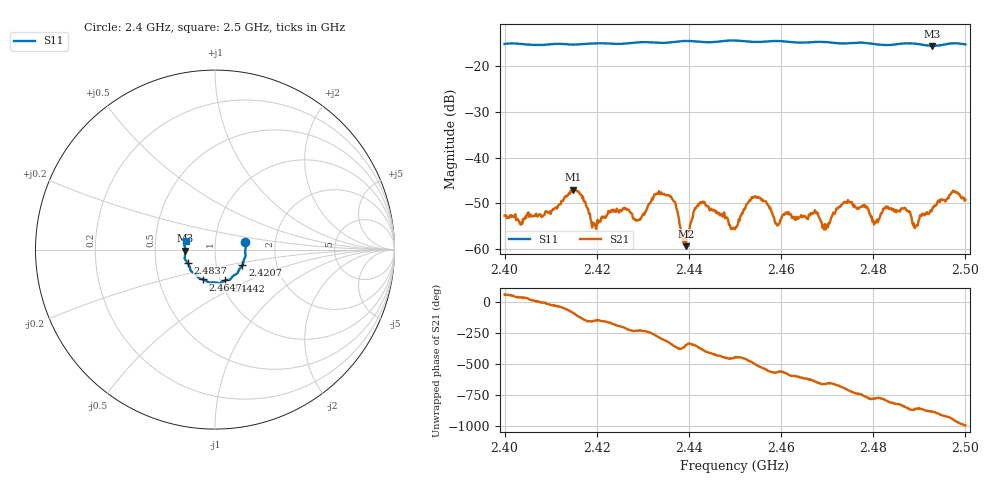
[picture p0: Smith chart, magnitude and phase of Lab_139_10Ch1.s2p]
# Hz S RI R 50
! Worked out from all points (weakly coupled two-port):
!   601 points, 2.4 GHz to 2.5 GHz, reference 50 ohm
!   highest |S21| = -47.00 dB at 2.4148 GHz (marker M1); lowest = -59.3 dB at 2.4393 GHz (marker M2)
!   lowest |S11| = -15.6 dB at 2.4928 GHz (marker M3), VSWR 1.40, Z = 35.8 - j0.426 ohm
!   |S11| at or under -10 dB: start of sweep to end of sweep
!   S12 and S22 are empty: the file has one direction only
!   S11 on the Smith chart (normalised r, x): 2.4 GHz: 1.40, +0.12; 2.4207 GHz: 1.34, -0.24; 2.4442 GHz: 1.05, -0.37; 2.4647 GHz: 0.83, -0.29; 2.4837 GHz: 0.73, -0.11; 2.5 GHz: 0.71, +0.07
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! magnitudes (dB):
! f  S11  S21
! 2.4 GHz  -15.2  -52.7
! 2.4148 GHz  -15.4  -47.0
! 2.4167 GHz  -15.3  -48.2
! 2.4207 GHz  -15.1  -54.0
! 2.4292 GHz  -14.9  -53.6
! 2.4333 GHz  -15.0  -48.0
! 2.4367 GHz  -14.8  -49.5
! 2.4393 GHz  -14.6  -59.3
! 2.4417 GHz  -14.7  -50.7
! 2.4442 GHz  -14.8  -50.6
! 2.45 GHz  -14.5  -55.6
! 2.4542 GHz  -14.8  -48.6
! 2.4592 GHz  -14.6  -54.9
! 2.4647 GHz  -14.9  -52.9
! 2.4667 GHz  -14.8  -52.2
! 2.4695 GHz  -14.8  -54.5
! 2.4742 GHz  -15.1  -49.7
! 2.4833 GHz  -15.4  -51.1
! 2.4837 GHz  -15.4  -51.1
! 2.4892 GHz  -15.2  -55.0
! 2.4928 GHz  -15.6  -51.2
! 2.5 GHz  -15.3  -49.3
